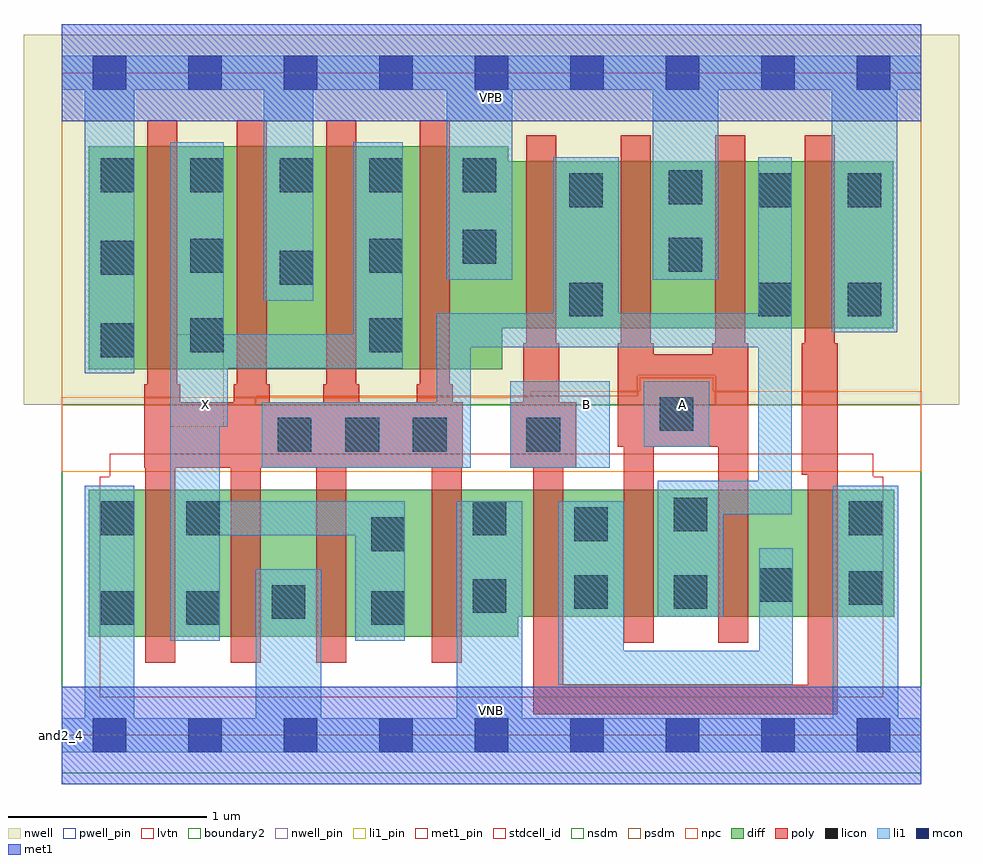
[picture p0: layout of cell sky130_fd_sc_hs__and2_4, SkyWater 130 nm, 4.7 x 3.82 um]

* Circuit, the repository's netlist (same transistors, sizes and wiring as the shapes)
* Copyright 2020 The SkyWater PDK Authors
*
* Licensed under the Apache License, Version 2.0 (the "License");
* you may not use this file except in compliance with the License.
* You may obtain a copy of the License at
*
*     https://www.apache.org/licenses/LICENSE-2.0
*
* Unless required by applicable law or agreed to in writing, software
* distributed under the License is distributed on an "AS IS" BASIS,
* WITHOUT WARRANTIES OR CONDITIONS OF ANY KIND, either express or implied.
* See the License for the specific language governing permissions and
* limitations under the License.
*
* SPDX-License-Identifier: Apache-2.0


.subckt sky130_fd_sc_hs__and2_4 A B VGND VNB VPB VPWR X
X0 VPWR a_83_269# X VPB sky130_fd_pr__pfet_01v8 w=1.12 l=150000u
X1 VPWR B a_83_269# VPB sky130_fd_pr__pfet_01v8 w=840000u l=150000u
X2 VPWR a_83_269# X VPB sky130_fd_pr__pfet_01v8 w=1.12 l=150000u
X3 a_504_119# B VGND VNB sky130_fd_pr__nfet_01v8_lvt w=640000u l=150000u
X4 a_83_269# A VPWR VPB sky130_fd_pr__pfet_01v8 w=840000u l=150000u
X5 VGND B a_504_119# VNB sky130_fd_pr__nfet_01v8_lvt w=640000u l=150000u
X6 VGND a_83_269# X VNB sky130_fd_pr__nfet_01v8_lvt w=740000u l=150000u
X7 a_83_269# B VPWR VPB sky130_fd_pr__pfet_01v8 w=840000u l=150000u
X8 X a_83_269# VPWR VPB sky130_fd_pr__pfet_01v8 w=1.12 l=150000u
X9 VGND a_83_269# X VNB sky130_fd_pr__nfet_01v8_lvt w=740000u l=150000u
X10 X a_83_269# VPWR VPB sky130_fd_pr__pfet_01v8 w=1.12 l=150000u
X11 X a_83_269# VGND VNB sky130_fd_pr__nfet_01v8_lvt w=740000u l=150000u
X12 a_504_119# A a_83_269# VNB sky130_fd_pr__nfet_01v8_lvt w=640000u l=150000u
X13 a_83_269# A a_504_119# VNB sky130_fd_pr__nfet_01v8_lvt w=640000u l=150000u
X14 VPWR A a_83_269# VPB sky130_fd_pr__pfet_01v8 w=840000u l=150000u
X15 X a_83_269# VGND VNB sky130_fd_pr__nfet_01v8_lvt w=740000u l=150000u
.ends

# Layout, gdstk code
import gdstk
lib = gdstk.Library(unit=1e-6, precision=1e-09)
def R(c, l, rs):  # rectangles x0, y0, x1, y1
    for r in rs: c.add(gdstk.rectangle(r[:2], r[2:], *l))
def A(c, l, x, y, w, h, nx, ny, dx, dy):  # array of equal rectangles
    R(c, l, [(x+i*dx, y+j*dy, x+i*dx+w, y+j*dy+h) for i in range(nx) for j in range(ny)])
def P(c, l, *ps):  # polygons
    for p in ps: c.add(gdstk.Polygon(p, *l))
nwell_pin = (64, 16)
nwell = (64, 20)
diff = (65, 20)
poly = (66, 20)
licon = (66, 44)
li1_pin = (67, 16)
li1 = (67, 20)
mcon = (67, 44)
met1_pin = (68, 16)
met1 = (68, 20)
stdcell_id = (81, 4)
nsdm = (93, 44)
psdm = (94, 20)
npc = (95, 20)
pwell_pin = (122, 16)
lvtn = (125, 44)
boundary2 = (236, 0)

sky130_fd_sc_hs__and2_4 = lib.new_cell('sky130_fd_sc_hs__and2_4')
R(sky130_fd_sc_hs__and2_4, nwell_pin, [(0,3.085,4.32,3.33)])
R(sky130_fd_sc_hs__and2_4, nwell, [(-0.19,1.66,4.51,3.52)])
P(sky130_fd_sc_hs__and2_4, diff, [(0.135,1.84),(0.135,2.96),(2.245,2.96),(2.245,2.885),(4.18,2.885),(4.18,2.045),(2.215,2.045),(2.215,1.84)],
  [(0.135,0.495),(0.135,1.235),(4.185,1.235),(4.185,0.595),(2.295,0.595),(2.295,0.495)])
P(sky130_fd_sc_hs__and2_4, poly, [(2.825,0.465),(2.825,1.45),(2.795,1.45),(2.795,1.97),(2.81,1.97),(2.81,3.015),(2.96,3.015),(2.96,1.97),(2.975,1.97),(2.975,1.915),(3.27,1.915),(3.27,1.97),(3.285,1.97),(3.285,3.015),(3.435,3.015),(3.435,1.97),(3.45,1.97),(3.45,0.465),(3.3,0.465),(3.3,1.45),(2.975,1.45),(2.975,0.465)],
  [(2.37,0.105),(2.37,1.345),(2.255,1.345),(2.255,1.675),(2.32,1.675),(2.32,1.97),(2.335,1.97),(2.335,3.015),(2.485,3.015),(2.485,1.97),(2.5,1.97),(2.5,1.675),(2.585,1.675),(2.585,1.345),(2.52,1.345),(2.52,0.255),(3.75,0.255),(3.75,1.31),(3.72,1.31),(3.72,1.97),(3.735,1.97),(3.735,3.015),(3.885,3.015),(3.885,1.97),(3.9,1.97),(3.9,0.105)],
  [(0.42,0.365),(0.42,1.345),(0.415,1.345),(0.415,1.765),(0.43,1.765),(0.43,3.09),(0.58,3.09),(0.58,1.765),(0.595,1.765),(0.595,1.675),(0.865,1.675),(0.865,1.765),(0.88,1.765),(0.88,3.09),(1.03,3.09),(1.03,1.765),(1.045,1.765),(1.045,1.675),(1.315,1.675),(1.315,1.765),(1.33,1.765),(1.33,3.09),(1.48,3.09),(1.48,1.765),(1.495,1.765),(1.495,1.675),(1.785,1.675),(1.785,1.765),(1.8,1.765),(1.8,3.09),(1.95,3.09),(1.95,1.765),(1.965,1.765),(1.965,1.675),(2.015,1.675),(2.015,1.345),(2.01,1.345),(2.01,0.365),(1.86,0.365),(1.86,1.345),(1.43,1.345),(1.43,0.365),(1.28,0.365),(1.28,1.345),(1,1.345),(1,0.365),(0.85,0.365),(0.85,1.345),(0.57,1.345),(0.57,0.365)])
A(sky130_fd_sc_hs__and2_4, licon, 1.085, 1.425, 0.17, 0.17, 3, 1, 0.34, 0)
A(sky130_fd_sc_hs__and2_4, licon, 0.195, 2.73, 0.17, 0.17, 4, 1, 0.45, 0)
R(sky130_fd_sc_hs__and2_4, licon, [(0.195,0.555,0.365,0.725), (0.625,0.555,0.795,0.725), (1.555,0.555,1.725,0.725), (1.055,0.585,1.225,0.755), (2.065,0.615,2.235,0.785), (2.575,0.635,2.745,0.805), (3.075,0.635,3.245,0.805), (3.955,0.655,4.125,0.825), (3.505,0.67,3.675,0.84), (1.555,0.925,1.725,1.095), (2.575,0.975,2.745,1.145), (0.195,1.005,0.365,1.175), (0.625,1.005,0.795,1.175), (2.065,1.005,2.235,1.175), (3.955,1.005,4.125,1.175), (3.075,1.025,3.245,1.195), (2.335,1.425,2.505,1.595), (3.005,1.53,3.175,1.7), (0.195,1.9,0.365,2.07), (0.645,1.925,0.815,2.095), (1.545,1.925,1.715,2.095), (2.55,2.105,2.72,2.275), (3.5,2.105,3.67,2.275), (3.95,2.105,4.12,2.275), (1.095,2.265,1.265,2.435), (0.195,2.315,0.365,2.485), (0.645,2.325,0.815,2.495), (1.545,2.325,1.715,2.495), (3.05,2.33,3.22,2.5), (2.015,2.37,2.185,2.54), (2.55,2.655,2.72,2.825), (3.5,2.655,3.67,2.825), (3.95,2.655,4.12,2.825), (3.05,2.67,3.22,2.84), (2.015,2.73,2.185,2.9)])
R(sky130_fd_sc_hs__and2_4, li1_pin, [(2.255,1.345,2.755,1.78), (2.925,1.45,3.255,1.78), (0.545,1.55,0.815,2.015)])
R(sky130_fd_sc_hs__and2_4, li1, [(2.255,1.345,2.755,1.78), (2.925,1.45,3.255,1.78)])
P(sky130_fd_sc_hs__and2_4, li1, [(0,-0.085),(0,0.085),(0.115,0.085),(0.115,1.255),(0.365,1.255),(0.365,0.085),(0.975,0.085),(0.975,0.835),(1.305,0.835),(1.305,0.085),(1.985,0.085),(1.985,1.175),(2.315,1.175),(2.315,0.085),(3.875,0.085),(3.875,1.255),(4.205,1.255),(4.205,0.085),(4.32,0.085),(4.32,-0.085)],
  [(0.115,1.82),(0.115,3.245),(0,3.245),(0,3.415),(4.32,3.415),(4.32,3.245),(4.2,3.245),(4.2,2.025),(3.87,2.025),(3.87,3.245),(3.3,3.245),(3.3,2.29),(2.97,2.29),(2.97,3.245),(2.265,3.245),(2.265,2.29),(1.935,2.29),(1.935,3.245),(1.265,3.245),(1.265,2.185),(1.015,2.185),(1.015,3.245),(0.365,3.245),(0.365,1.82)],
  [(0.545,0.475),(0.545,2.98),(0.815,2.98),(0.815,2.015),(1.465,2.015),(1.465,2.98),(1.715,2.98),(1.715,1.845),(0.835,1.845),(0.835,1.55),(0.795,1.55),(0.795,1.175),(1.725,1.175),(1.725,0.475),(1.475,0.475),(1.475,1.005),(0.795,1.005),(0.795,0.475)],
  [(2.995,0.595),(2.995,1.28),(3.5,1.28),(3.5,1.95),(2.055,1.95),(2.055,1.345),(1.005,1.345),(1.005,1.675),(1.885,1.675),(1.885,2.12),(2.47,2.12),(2.47,2.905),(2.8,2.905),(2.8,2.12),(3.5,2.12),(3.5,2.905),(3.67,2.905),(3.67,1.11),(3.325,1.11),(3.325,0.595)],
  [(2.495,0.255),(2.495,1.175),(2.825,1.175),(2.825,0.425),(3.505,0.425),(3.505,0.94),(3.675,0.94),(3.675,0.255)])
A(sky130_fd_sc_hs__and2_4, mcon, 0.155, -0.085, 0.17, 0.17, 9, 2, 0.48, 3.33)
R(sky130_fd_sc_hs__and2_4, met1_pin, [(0,-0.245,4.32,0.245), (0,3.085,4.32,3.575)])
R(sky130_fd_sc_hs__and2_4, met1, [(0,-0.245,4.32,0.245), (0,3.085,4.32,3.575)])
R(sky130_fd_sc_hs__and2_4, stdcell_id, [(0,0,4.32,3.33)])
R(sky130_fd_sc_hs__and2_4, nsdm, [(0,-0.19,4.32,1.66)])
P(sky130_fd_sc_hs__and2_4, psdm, [(0,1.66),(0,3.52),(4.32,3.52),(4.32,1.66),(3.285,1.66),(3.285,1.81),(2.895,1.81),(2.895,1.705),(0.975,1.705),(0.975,1.66)])
P(sky130_fd_sc_hs__and2_4, npc, [(0,1.325),(0,1.7),(2.355,1.7),(2.355,1.73),(2.905,1.73),(2.905,1.8),(3.275,1.8),(3.275,1.73),(4.32,1.73),(4.32,1.325)])
R(sky130_fd_sc_hs__and2_4, pwell_pin, [(0,0,4.32,0.245)])
P(sky130_fd_sc_hs__and2_4, lvtn, [(0.19,0.19),(0.19,1.3),(0.24,1.3),(0.24,1.415),(4.08,1.415),(4.08,1.3),(4.13,1.3),(4.13,0.19)])
R(sky130_fd_sc_hs__and2_4, boundary2, [(0,0,4.32,3.33)])
sky130_fd_sc_hs__and2_4.add(gdstk.Label('and2_4', (0,0), layer=83, texttype=44))
sky130_fd_sc_hs__and2_4.add(gdstk.Label('VNB', (2.16,0.123), layer=64, texttype=59))
sky130_fd_sc_hs__and2_4.add(gdstk.Label('VPB', (2.16,3.208), layer=64, texttype=5))
sky130_fd_sc_hs__and2_4.add(gdstk.Label('VPWR', (2.16,3.208), layer=68, texttype=5))
sky130_fd_sc_hs__and2_4.add(gdstk.Label('VGND', (2.16,0.123), layer=68, texttype=5))
sky130_fd_sc_hs__and2_4.add(gdstk.Label('X', (0.72,1.665), layer=67, texttype=5))
sky130_fd_sc_hs__and2_4.add(gdstk.Label('A', (3.12,1.665), layer=67, texttype=5))
sky130_fd_sc_hs__and2_4.add(gdstk.Label('B', (2.64,1.665), layer=67, texttype=5))

lib.write_gds('sky130_fd_sc_hs__and2_4.gds')
